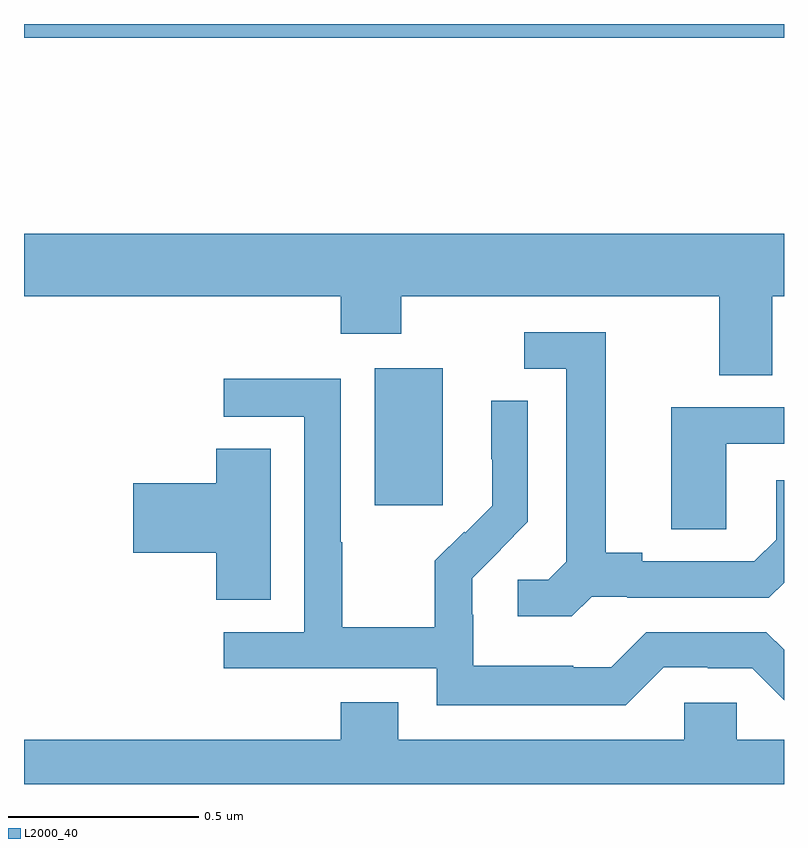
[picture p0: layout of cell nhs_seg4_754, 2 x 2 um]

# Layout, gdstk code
import gdstk
lib = gdstk.Library(unit=1e-6, precision=1e-09)
def R(c, l, rs):  # rectangles x0, y0, x1, y1
    for r in rs: c.add(gdstk.rectangle(r[:2], r[2:], *l))
def P(c, l, *ps):  # polygons
    for p in ps: c.add(gdstk.Polygon(p, *l))
L2000_40 = (2000, 40)

nhs_seg4_754 = lib.new_cell('nhs_seg4_754')
R(nhs_seg4_754, L2000_40, [(120.923,765.633,121.102,765.994), (120,766.864,122,766.9)])
P(nhs_seg4_754, L2000_40, [(121.969,766.184),(122,766.184),(122,766.348),(120,766.348),(120,766.184),(120.833,766.184),(120.833,766.085),(120.993,766.085),(120.993,766.184),(121.829,766.184),(121.829,765.976),(121.969,765.976)],
  [(121.494,765.393),(121.588,765.393),(121.588,765.39),(121.96,765.39),(122,765.43),(122,765.7),(121.979,765.7),(121.979,765.543),(121.922,765.486),(121.627,765.486),(121.627,765.509),(121.531,765.509),(121.531,766.089),(121.317,766.089),(121.317,765.993),(121.427,765.993),(121.427,765.485),(121.38,765.438),(121.299,765.438),(121.299,765.341),(121.442,765.341)],
  [(121.683,765.207),(121.799,765.207),(121.799,765.204),(121.917,765.204),(122,765.121),(122,765.253),(121.953,765.3),(121.638,765.3),(121.545,765.207),(121.445,765.207),(121.445,765.211),(121.182,765.211),(121.182,765.345),(121.18,765.345),(121.18,765.442),(121.254,765.516),(121.253,765.517),(121.326,765.59),(121.326,765.908),(121.23,765.908),(121.23,765.754),(121.232,765.754),(121.232,765.632),(121.161,765.561),(121.158,765.564),(121.081,765.487),(121.081,765.313),(120.837,765.313),(120.837,765.536),(120.834,765.536),(120.834,765.966),(120.525,765.966),(120.525,765.867),(120.738,765.867),(120.738,765.3),(120.525,765.3),(120.525,765.204),(121.086,765.204),(121.086,765.107),(121.583,765.107)],
  [(121.848,765.795),(122,765.795),(122,765.891),(121.703,765.891),(121.703,765.571),(121.848,765.571)],
  [(120.649,765.782),(120.506,765.782),(120.506,765.692),(120.288,765.692),(120.288,765.509),(120.506,765.509),(120.506,765.385),(120.649,765.385)],
  [(122,765.016),(121.875,765.016),(121.875,765.114),(121.737,765.114),(121.737,765.016),(120.985,765.016),(120.985,765.115),(120.833,765.115),(120.833,765.016),(120,765.016),(120,764.9),(122,764.9)])

lib.write_gds('nhs_seg4_754.gds')
